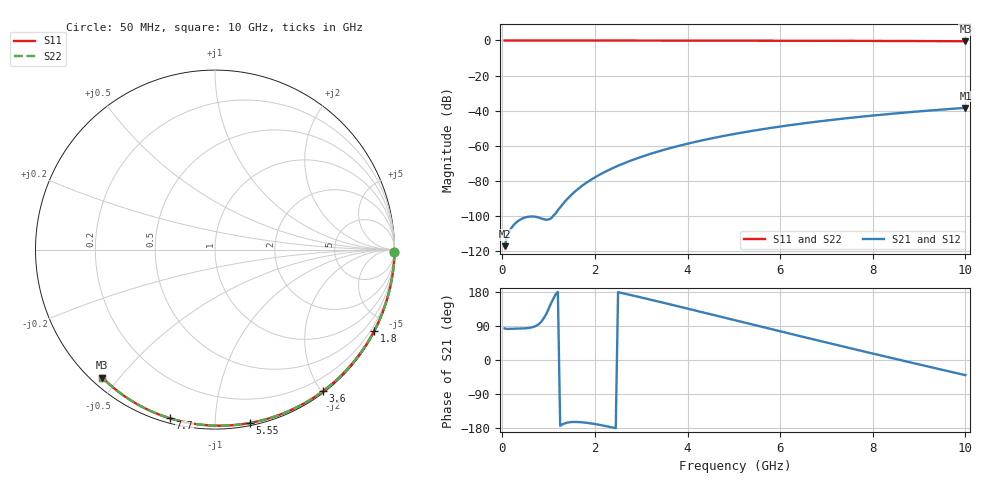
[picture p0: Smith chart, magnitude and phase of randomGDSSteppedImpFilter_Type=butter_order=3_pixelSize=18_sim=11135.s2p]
! freq	dB(S11)	phase(S11)	dB(S12)	phase(S12)
!  dB(S21)	phase(S21)	dB(S22)	phase(S22)
!S-par simulation data
#  GHz  S  DB  R 50
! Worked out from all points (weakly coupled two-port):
!   200 points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, 50 MHz to 10 GHz, reference 50 ohm
!   highest |S21| = -38.42 dB at 10 GHz (marker M1); lowest = -117.3 dB at 50 MHz (marker M2)
!   lowest |S11| = -0.4 dB at 10 GHz (marker M3), VSWR 39.07, Z = 1.54 - j22.6 ohm
!   |S11| at or under -10 dB: nowhere
!   |S22| runs from -0.4 to 0.0 dB; largest |S21 - S12| = 0
!   S11 on the Smith chart (normalised r, x): 50 MHz: open; 1.8 GHz: 0.04, -4.18; 3.6 GHz: 0.02, -2.02; 5.55 GHz: 0.02, -1.22; 7.7 GHz: 0.02, -0.77; 10 GHz: 0.03, -0.45
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0.05  -0.00 -0.8  -117.30 83.4  -117.30 83.4  -0.00 -0.8
0.9  -0.02 -13.6  -101.98 111.1  -101.98 111.1  -0.02 -13.6
1.75  -0.03 -26.2  -82.35 -164.7  -82.35 -164.7  -0.03 -26.2
1.8  -0.03 -26.9  -81.41 -165.4  -81.41 -165.4  -0.03 -26.9
1.85  -0.04 -27.6  -80.52 -166.2  -80.52 -166.2  -0.04 -27.6
1.9  -0.04 -28.4  -79.67 -167.1  -79.67 -167.1  -0.04 -28.4
2.05  -0.04 -30.6  -77.29 -170.1  -77.29 -170.1  -0.04 -30.6
2.25  -0.04 -33.5  -74.49 -174.7  -74.49 -174.7  -0.04 -33.5
2.45  -0.05 -36.4  -72.02 -179.8  -72.02 -179.8  -0.05 -36.4
2.65  -0.05 -39.2  -69.80 174.8  -69.80 174.8  -0.05 -39.2
3  -0.06 -44.2  -66.39 165.0  -66.39 165.0  -0.06 -44.2
3.4  -0.07 -49.8  -63.05 153.4  -63.05 153.4  -0.07 -49.8
3.6  -0.07 -52.6  -61.56 147.5  -61.56 147.5  -0.07 -52.6
4.3  -0.09 -62.2  -57.05 126.6  -57.05 126.6  -0.09 -62.2
5.05  -0.11 -72.2  -53.12 104.1  -53.12 104.1  -0.11 -72.2
5.55  -0.13 -78.6  -50.89 89.2  -50.89 89.2  -0.13 -78.6
6.1  -0.15 -85.6  -48.71 72.8  -48.71 72.8  -0.15 -85.6
6.7  -0.18 -93.0  -46.61 55.0  -46.61 55.0  -0.18 -93.0
7.7  -0.24 -105.0  -43.61 25.7  -43.61 25.7  -0.24 -105.0
8.35  -0.29 -112.6  -41.94 6.9  -41.94 6.9  -0.29 -112.6
9.15  -0.36 -121.7  -40.12 -16.0  -40.12 -16.0  -0.36 -121.7
10  -0.44 -131.3  -38.42 -40.0  -38.42 -40.0  -0.44 -131.3
